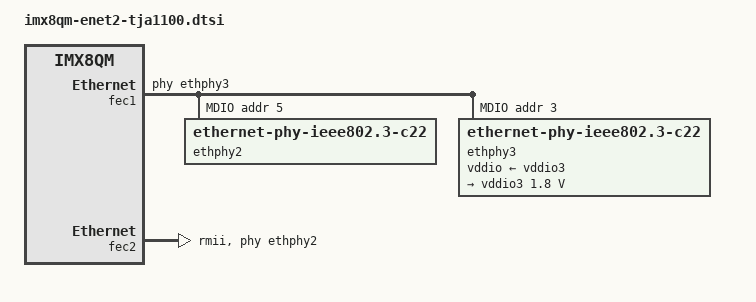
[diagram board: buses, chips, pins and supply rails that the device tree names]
/*
 * Copyright 2019 NXP
 *
 * This program is free software; you can redistribute it and/or
 * modify it under the terms of the GNU General Public License
 * as published by the Free Software Foundation; either version 2
 * of the License, or (at your option) any later version.
 *
 * This program is distributed in the hope that it will be useful,
 * but WITHOUT ANY WARRANTY; without even the implied warranty of
 * MERCHANTABILITY or FITNESS FOR A PARTICULAR PURPOSE.  See the
 * GNU General Public License for more details.
 */

/* fec1 cannot attach to ethphy0 since the PHY address
 * conflict with ethphy2. So eth0 should not work.
 * There still enable fec1 to share the MDIO bus for fec2 due
 * to board limitation.
 */
&fec1 {
	/* PHY address should rework to 3 */
	phy-handle = <&ethphy3>;

	mdio {
		#address-cells = <1>;
		#size-cells = <0>;

		ethphy2: ethernet-phy@2 {
			compatible = "ethernet-phy-ieee802.3-c22";
			reg = <5>;
			nxp,rmii-refclk-in;
			/delete-property/ qca,disable-smarteee;
			/delete-property/ vddio-supply;
		};

		ethphy3: ethernet-phy@3 {
			compatible = "ethernet-phy-ieee802.3-c22";
			reg = <3>;
			qca,disable-smarteee;
			vddio-supply = <&vddio3>;

			vddio3: vddio-regulator {
				regulator-min-microvolt = <1800000>;
				regulator-max-microvolt = <1800000>;
			};
		};
	};
};

&fec2 {
	pinctrl-0 = <&pinctrl_fec2_rmii>;
	clocks = <&enet1_lpcg 4>,
		 <&enet1_lpcg 2>,
		 <&clk IMX_SC_R_ENET_1 IMX_SC_C_DISABLE_50>,
		 <&enet1_lpcg 0>,
		 <&enet1_lpcg 1>;
	phy-mode = "rmii";
	phy-handle = <&ethphy2>;
	/delete-property/ phy-supply;
	/delete-property/ rx-internal-delay-ps;
	/delete-property/ tx-internal-delay-ps;
};

&iomuxc {
	pinctrl_fec2_rmii: fec2rmiigrp {
		fsl,pins = <
			IMX8QM_ENET1_RGMII_TXC_CONN_ENET1_RCLK50M_OUT		0x06000020
			IMX8QM_ENET1_RGMII_RXD0_CONN_ENET1_RGMII_RXD0		0x06000020
			IMX8QM_ENET1_RGMII_RXD1_CONN_ENET1_RGMII_RXD1		0x06000020
			IMX8QM_ENET1_RGMII_RXD2_CONN_ENET1_RMII_RX_ER		0x06000020
			IMX8QM_ENET1_RGMII_RX_CTL_CONN_ENET1_RGMII_RX_CTL	0x06000020
			IMX8QM_ENET1_RGMII_TXD0_CONN_ENET1_RGMII_TXD0		0x06000020
			IMX8QM_ENET1_RGMII_TXD1_CONN_ENET1_RGMII_TXD1		0x06000020
			IMX8QM_ENET1_RGMII_TX_CTL_CONN_ENET1_RGMII_TX_CTL	0x06000020
		>;
	};
};
